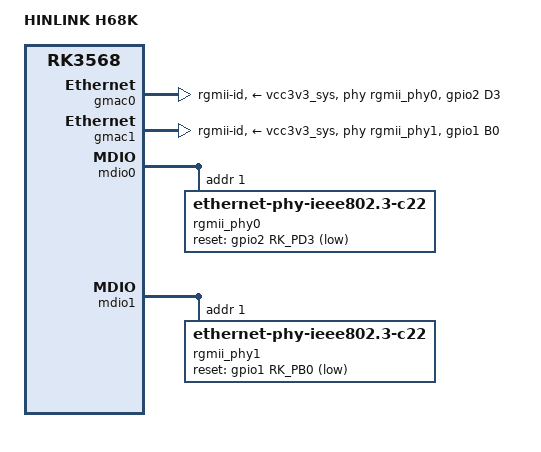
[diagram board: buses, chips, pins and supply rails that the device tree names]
// SPDX-License-Identifier: (GPL-2.0+ OR MIT)

/dts-v1/;

#include "rk3568-hinlink-opc.dtsi"

/ {
	model = "HINLINK H68K";
	compatible = "hinlink,h68k", "rockchip,rk3568";

	aliases {
		ethernet0 = &gmac0;
		ethernet1 = &gmac1;
	};
};

&gmac0 {
	assigned-clocks = <&cru SCLK_GMAC0_RX_TX>, <&cru SCLK_GMAC0>;
	assigned-clock-parents = <&cru SCLK_GMAC0_RGMII_SPEED>;
	assigned-clock-rates = <0>, <125000000>;
	clock_in_out = "output";
	phy-handle = <&rgmii_phy0>;
	phy-mode = "rgmii-id";
	phy-supply = <&vcc3v3_sys>;
	pinctrl-names = "default";
	pinctrl-0 = <&gmac0_miim
		     &gmac0_tx_bus2
		     &gmac0_rx_bus2
		     &gmac0_rgmii_clk
		     &gmac0_rgmii_bus
		     &gmac0_rstn>;
	status = "okay";
};

&gmac1 {
	assigned-clocks = <&cru SCLK_GMAC1_RX_TX>, <&cru SCLK_GMAC1>;
	assigned-clock-parents = <&cru SCLK_GMAC1_RGMII_SPEED>;
	assigned-clock-rates = <0>, <125000000>;
	clock_in_out = "output";
	phy-handle = <&rgmii_phy1>;
	phy-mode = "rgmii-id";
	phy-supply = <&vcc3v3_sys>;
	pinctrl-names = "default";
	pinctrl-0 = <&gmac1m1_miim
		     &gmac1m1_tx_bus2
		     &gmac1m1_rx_bus2
		     &gmac1m1_rgmii_clk
		     &gmac1m1_rgmii_bus
		     &gmac1_rstn>;
	status = "okay";
};

&mdio0 {
	rgmii_phy0: ethernet-phy@1 {
		compatible = "ethernet-phy-ieee802.3-c22";
		reg = <0x1>;
		reset-assert-us = <20000>;
		reset-deassert-us = <100000>;
		reset-gpios = <&gpio2 RK_PD3 GPIO_ACTIVE_LOW>;
	};
};

&mdio1 {
	rgmii_phy1: ethernet-phy@1 {
		compatible = "ethernet-phy-ieee802.3-c22";
		reg = <0x1>;
		reset-assert-us = <20000>;
		reset-deassert-us = <100000>;
		reset-gpios = <&gpio1 RK_PB0 GPIO_ACTIVE_LOW>;
	};
};

&pinctrl {
	gmac {
		gmac0_rstn: gmac0-rstn {
			rockchip,pins = <2 RK_PD3 RK_FUNC_GPIO &pcfg_pull_none>;
		};

		gmac1_rstn: gmac1-rstn {
			rockchip,pins = <1 RK_PB0 RK_FUNC_GPIO &pcfg_pull_none>;
		};
	};
};
